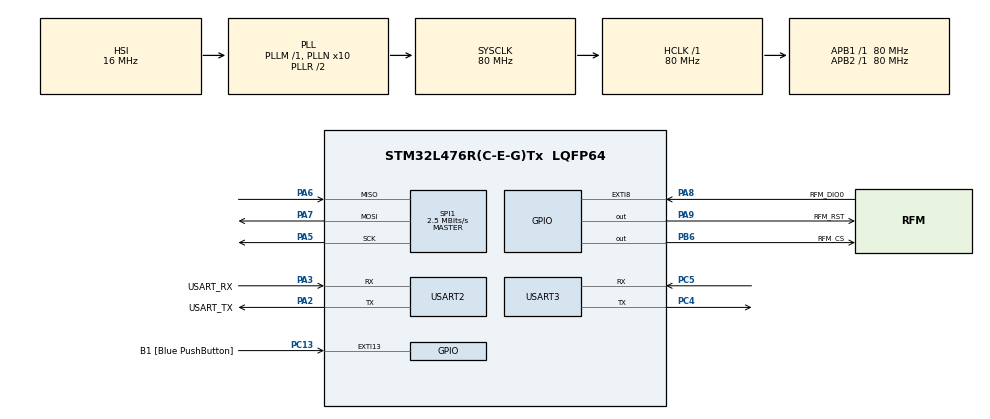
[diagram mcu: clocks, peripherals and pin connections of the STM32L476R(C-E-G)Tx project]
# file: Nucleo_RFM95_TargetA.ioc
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Dma.Request0=USART3_TX
Dma.USART3_TX.0.Direction=DMA_MEMORY_TO_PERIPH
Dma.USART3_TX.0.Instance=DMA1_Channel2
Dma.USART3_TX.0.MemDataAlignment=DMA_MDATAALIGN_BYTE
Dma.USART3_TX.0.MemInc=DMA_MINC_ENABLE
Dma.USART3_TX.0.Mode=DMA_NORMAL
Dma.USART3_TX.0.PeriphDataAlignment=DMA_PDATAALIGN_BYTE
Dma.USART3_TX.0.PeriphInc=DMA_PINC_DISABLE
Dma.USART3_TX.0.Priority=DMA_PRIORITY_LOW
Mcu.Family=STM32L4
Mcu.Name=STM32L476R(C-E-G)Tx
Mcu.Package=LQFP64
NVIC.DMA1_Channel2_IRQn=true\:0\:0\:false\:false\:true\:false\:true\:true
NVIC.EXTI9_5_IRQn=true\:0\:0\:false\:false\:true\:true\:true\:true
NVIC.PriorityGroup=NVIC_PRIORITYGROUP_4
NVIC.TIM2_IRQn=true\:0\:0\:false\:false\:true\:true\:true\:true
NVIC.USART3_IRQn=true\:0\:0\:false\:false\:true\:true\:true\:true
PA13\ (JTMS-SWDIO).GPIO_Label=TMS
PA13\ (JTMS-SWDIO).Mode=Serial_Wire
PA13\ (JTMS-SWDIO).Signal=SYS_JTMS-SWDIO
PA14\ (JTCK-SWCLK).GPIO_Label=TCK
PA14\ (JTCK-SWCLK).Mode=Serial_Wire
PA14\ (JTCK-SWCLK).Signal=SYS_JTCK-SWCLK
PA2.GPIO_Label=USART_TX
PA2.GPIO_Mode=GPIO_MODE_AF_PP
PA2.GPIO_PuPd=GPIO_NOPULL
PA2.GPIO_Speed=GPIO_SPEED_FREQ_VERY_HIGH
PA2.Mode=Asynchronous
PA2.Signal=USART2_TX
PA3.GPIO_Label=USART_RX
PA3.GPIO_Mode=GPIO_MODE_AF_PP
PA3.GPIO_PuPd=GPIO_NOPULL
PA3.GPIO_Speed=GPIO_SPEED_FREQ_VERY_HIGH
PA3.Mode=Asynchronous
PA3.Signal=USART2_RX
PA5.Mode=Full_Duplex_Master
PA5.Signal=SPI1_SCK
PA6.Mode=Full_Duplex_Master
PA6.Signal=SPI1_MISO
PA7.Mode=Full_Duplex_Master
PA7.Signal=SPI1_MOSI
PA8.GPIO_Label=RFM_DIO0
PA8.Signal=GPXTI8
PA9.GPIO_Label=RFM_RST
PA9.Signal=GPIO_Output
PB3\ (JTDO-TRACESWO).GPIO_Label=SWO
PB3\ (JTDO-TRACESWO).Signal=SYS_JTDO-SWO
PB6.GPIO_Label=RFM_CS
PB6.Signal=GPIO_Output
PC13.GPIO_Label=B1 [Blue PushButton]
PC13.GPIO_ModeDefaultEXTI=GPIO_MODE_IT_FALLING
PC13.GPIO_PuPd=GPIO_NOPULL
PC13.Signal=GPXTI13
PC14-OSC32_IN\ (PC14).Mode=LSE-External-Oscillator
PC14-OSC32_IN\ (PC14).Signal=RCC_OSC32_IN
PC15-OSC32_OUT\ (PC15).Mode=LSE-External-Oscillator
PC15-OSC32_OUT\ (PC15).Signal=RCC_OSC32_OUT
PC4.Mode=Asynchronous
PC4.Signal=USART3_TX
PC5.Mode=Asynchronous
PC5.Signal=USART3_RX
PH0-OSC_IN\ (PH0).Signal=RCC_OSC_IN
PH1-OSC_OUT\ (PH1).Signal=RCC_OSC_OUT
ProjectManager.HeapSize=0x200
ProjectManager.StackSize=0x400
ProjectManager.TargetToolchain=CMake
RCC.ADCFreq_Value=64000000
RCC.AHBFreq_Value=80000000
RCC.APB1Freq_Value=80000000
RCC.APB1TimFreq_Value=80000000
RCC.APB2Freq_Value=80000000
RCC.APB2TimFreq_Value=80000000
RCC.CortexFreq_Value=80000000
RCC.HCLKFreq_Value=80000000
RCC.HSE_VALUE=8000000
RCC.HSI_VALUE=16000000
RCC.MSI_VALUE=4000000
RCC.PLLN=10
RCC.PLLSourceVirtual=RCC_PLLSOURCE_HSI
RCC.PREFETCH_ENABLE=1
RCC.SYSCLKFreq_VALUE=80000000
RCC.SYSCLKSource=RCC_SYSCLKSOURCE_PLLCLK
RCC.USBFreq_Value=64000000
RCC.VCOOutputFreq_Value=160000000
SPI1.BaudRatePrescaler=SPI_BAUDRATEPRESCALER_32
SPI1.CalculateBaudRate=2.5 MBits/s
SPI1.DataSize=SPI_DATASIZE_8BIT
SPI1.Direction=SPI_DIRECTION_2LINES
SPI1.Mode=SPI_MODE_MASTER
SPI1.VirtualType=VM_MASTER
TIM2.Period=999
TIM2.Prescaler=79
USART2.VirtualMode-Asynchronous=VM_ASYNC
USART3.VirtualMode-Asynchronous=VM_ASYNC
VP_TIM2_VS_ClockSourceINT.Mode=Internal
board=NUCLEO-L476RG

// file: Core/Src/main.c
/* USER CODE BEGIN Header */
/**
  ******************************************************************************
  * @file           : main.c
  * @brief          : Main program body
  ******************************************************************************
  * @attention
  *
  * Copyright (c) 2026 STMicroelectronics.
  * All rights reserved.
  *
  * This software is licensed under terms that can be found in the LICENSE file
  * in the root directory of this software component.
  * If no LICENSE file comes with this software, it is provided AS-IS.
  *
  ******************************************************************************
  */
/* USER CODE END Header */
#include "main.h"

/* USER CODE BEGIN Includes */
#include "stdio.h"
#include "string.h"
#include "lh1f_defs.h"

/* USER CODE END Includes */

/* USER CODE BEGIN PD */
/* Beacon IDs, packet types, modulation kinds live in lh1f_defs.h */

#ifndef MY_BEACON_ID
#define MY_BEACON_ID       BEACON_ID_A
#endif
#ifndef ROLE_INITIATOR
#define ROLE_INITIATOR
#endif

/* --- Campaign-configurable radio parameters --------------------------------
 * Edit these two defines between campaign runs; do not change register
 * addresses or any other values in lora_init().
 *
 * LORA_SF:         Spreading factor 7-12
 * LORA_TX_PWR_DBM: TX output power in dBm (+2, +8, +14, or +20)
 * -------------------------------------------------------------------------- */
#define LORA_SF          7
#define LORA_TX_PWR_DBM  14

/* Derived register values -- do not edit below this line */
#define REG_MODEM_CONFIG2_VAL  ((LORA_SF << 4) | 0x04)
#define REG_PA_CONFIG_VAL      (0x80 | ((LORA_TX_PWR_DBM - 2) & 0x0F))

/* USER CODE END PD */

SPI_HandleTypeDef hspi1;

TIM_HandleTypeDef htim2;

UART_HandleTypeDef huart2;
UART_HandleTypeDef huart3;
DMA_HandleTypeDef hdma_usart3_tx;

/* USER CODE BEGIN PV */
volatile uint32_t ms_count = 0;
uint8_t g_lora_sf = LORA_SF;

typedef struct {
  uint8_t  raw[32];
  uint32_t rx_ts_ms;
  int8_t   rssi_dbm;
  int8_t   snr_q025;
} pkt_rx_t;

volatile pkt_rx_t rx_slot;
volatile uint8_t  rx_ready = 0;
volatile uint32_t paused_until_ms = 0;
volatile uint32_t pause_print_until_ms = 0;
/* USER CODE END PV */

void SystemClock_Config(void);
static void MX_GPIO_Init(void);
static void MX_DMA_Init(void);
static void MX_USART2_UART_Init(void);
static void MX_SPI1_Init(void);
static void MX_USART3_UART_Init(void);
static void MX_TIM2_Init(void);
/* USER CODE BEGIN PFP */
int __io_putchar(int ch);
uint32_t rfm_frf_to_hz(uint8_t msb, uint8_t mid, uint8_t lsb);
/* radio + packet helper prototypes come from lh1f_defs.h */

/* USER CODE END PFP */

int main(void)
{

  /* MCU Configuration--------------------------------------------------------*/

  /* Reset of all peripherals, Initializes the Flash interface and the Systick. */
  HAL_Init();

  /* Configure the system clock */
  SystemClock_Config();

  /* Initialize all configured peripherals */
  MX_GPIO_Init();
  MX_DMA_Init();
  MX_USART2_UART_Init();
  MX_SPI1_Init();
  MX_USART3_UART_Init();
  MX_TIM2_Init();
  /* USER CODE BEGIN 2 */
  const uint8_t *uid = (const uint8_t *)0x1FFF7590U;
  char uid_str[25];
  snprintf(uid_str, sizeof(uid_str),
           "%02X%02X%02X%02X%02X%02X%02X%02X%02X%02X%02X%02X",
           uid[0], uid[1], uid[2], uid[3],
           uid[4], uid[5], uid[6], uid[7],
           uid[8], uid[9], uid[10], uid[11]);

  const char *board_name = "Unknown";
  if (strcmp(uid_str, "500022000350453151313620") == 0) board_name = "Board 3";
  else if (strcmp(uid_str, "400052001750563042313320") == 0) board_name = "Board 2";
  else if (strcmp(uid_str, "360020000350453151313620") == 0) board_name = "Board 1";

  printf("UID: %s --> %s\r\n", uid_str, board_name);

  /* CRC-16/CCITT-FALSE self-test (LH1-F deliverable) */
  {
    const uint8_t vec[9] = {'1','2','3','4','5','6','7','8','9'};
    uint16_t got = crc16_ccitt(vec, 9);
    if (got != 0x29B1u) {
      printf("CRC16 SELFTEST FAIL: expected 0x29B1 got 0x%04X\r\n", got);
      while (1) { /* hang on failure */ }
    } else {
      printf("CRC16 SELFTEST PASS (0x29B1)\r\n");
    }
  }

  /* Reset the RFM95W */
  HAL_GPIO_WritePin(RFM_RST_GPIO_Port, RFM_RST_Pin, GPIO_PIN_RESET);
  HAL_Delay(1);
  HAL_GPIO_WritePin(RFM_RST_GPIO_Port, RFM_RST_Pin, GPIO_PIN_SET);
  HAL_Delay(10);

  uint8_t version = rfm_read_reg(0x42);
  printf("RegVersion = 0x%02X\r\n", version);

  lora_init();

  /* Start the 1 ms TIM2 tick driving ms_count */
  HAL_TIM_Base_Start_IT(&htim2);

  /* PB10 instrumentation pulse (TX-entry scope trigger) */
  __HAL_RCC_GPIOB_CLK_ENABLE();
  {
    GPIO_InitTypeDef trig = {0};
    trig.Pin   = GPIO_PIN_10;
    trig.Mode  = GPIO_MODE_OUTPUT_PP;
    trig.Pull  = GPIO_NOPULL;
    trig.Speed = GPIO_SPEED_FREQ_HIGH;
    HAL_GPIO_Init(GPIOB, &trig);
    HAL_GPIO_WritePin(GPIOB, GPIO_PIN_10, GPIO_PIN_RESET);
  }

  /* Drop into RX so the DIO0 ISR can deliver inbound packets (PAUSE/ACK) */
  rfm_set_mode_rx();

  printf("Target A initiator ready (id=0x%02X)\r\n", (unsigned)MY_BEACON_ID);

  /* USER CODE END 2 */

  /* Infinite loop */
  /* USER CODE BEGIN WHILE */
  typedef enum {
    ST_IDLE, ST_BUILD_DATA, ST_BUILD_ACK, ST_TX,
    ST_WAIT_ACK, ST_LOG, ST_FAULT
  } state_t;

  state_t  state = ST_IDLE;
  uint16_t seq = 0;
  uint16_t pending_ack_seq = 0;
  uint32_t t_tx_ms = 0;
  uint8_t  pkt[32];
  uint8_t  log_was_acked = 0;
  int16_t  log_ack_rssi = 0;
  uint32_t log_rtt_ms = 0;
  uint32_t next_tx_ms = ms_count + 1000;
  uint16_t acks_received = 0;
  uint16_t data_sent = 0;

  while (1)
  {
    /* Honor PAUSE: suppress DATA scheduling while paused, but keep RX live
     * so PAUSE refreshes (and any ACKs) can still be processed.            */
    uint8_t paused_now = (ms_count < paused_until_ms);

    /* Throttled "I'm Jammed" print: at most once per pause window */
    if (paused_now && pause_print_until_ms < paused_until_ms) {
      printf("I'm Jammed (by ID=0x%02X, until t=%lu)\r\n",
             (unsigned)BEACON_ID_THREAT,
             (unsigned long)paused_until_ms);
      pause_print_until_ms = paused_until_ms;
    }

    switch (state) {
    case ST_IDLE:
#ifdef ROLE_INITIATOR
      if (!paused_now && ms_count >= next_tx_ms) {
        state = ST_BUILD_DATA;
        break;
      }
#endif
      if (rx_ready) {
        rx_ready = 0;
        uint8_t pkt_type = rx_slot.raw[6] & 0x03;
        uint8_t sender   = rx_slot.raw[2];
#ifdef ROLE_RESPONDER
        if (pkt_type == PKT_TYPE_DATA && sender == BEACON_ID_A) {
          pending_ack_seq = (uint16_t)rx_slot.raw[3]
                          | ((uint16_t)rx_slot.raw[4] << 8);
          state = ST_BUILD_ACK;
          break;
        }
#endif
        (void)pkt_type; (void)sender;
      }
      break;

    case ST_BUILD_DATA:
      build_packet(pkt, MY_BEACON_ID, seq,
                   PKT_TYPE_DATA, MOD_KIND_LORA);
      state = ST_TX;
      break;

    case ST_BUILD_ACK:
      build_packet(pkt, MY_BEACON_ID, pending_ack_seq,
                   PKT_TYPE_ACK, MOD_KIND_LORA);
      state = ST_TX;
      break;

    case ST_TX: {
      rfm_set_mode_standby();
      rfm_write_reg(0x0D, rfm_read_reg(0x0E));
      for (int i = 0; i < 32; i++) rfm_write_reg(0x00, pkt[i]);
      rfm_write_reg(0x22, 32);
      t_tx_ms = ms_count;
      rfm_write_reg(0x12, 0xFF);

      HAL_GPIO_WritePin(GPIOB, GPIO_PIN_10, GPIO_PIN_SET);
      rfm_write_reg(0x01, 0x83);  /* TX */

      uint32_t tx_deadline = ms_count + 500;
      uint8_t ok = 0;
      while (ms_count < tx_deadline) {
        if (rfm_read_reg(0x12) & 0x08) { ok = 1; break; }
      }
      rfm_write_reg(0x12, 0xFF);
      HAL_GPIO_WritePin(GPIOB, GPIO_PIN_10, GPIO_PIN_RESET);

      if (!ok) { state = ST_FAULT; break; }

      data_sent++;
      rfm_set_mode_rx();
#ifdef ROLE_INITIATOR
      state = ST_WAIT_ACK;
#else
      state = ST_LOG;
#endif
      break;
    }

#ifdef ROLE_INITIATOR
    case ST_WAIT_ACK: {
      uint32_t deadline = ms_count + 200;
      log_was_acked = 0;
      while (ms_count < deadline) {
        if (rx_ready) {
          rx_ready = 0;
          uint8_t pkt_type = rx_slot.raw[6] & 0x03;
          uint8_t sender   = rx_slot.raw[2];
          uint16_t rs = (uint16_t)rx_slot.raw[3]
                      | ((uint16_t)rx_slot.raw[4] << 8);
          if (pkt_type == PKT_TYPE_ACK
              && sender == BEACON_ID_B
              && rs == seq) {
            log_was_acked = 1;
            log_ack_rssi  = rx_slot.rssi_dbm;
            log_rtt_ms    = ms_count - t_tx_ms;
            break;
          }
        }
      }
      if (log_was_acked) acks_received++;
      next_tx_ms = t_tx_ms + 1000;
      seq++;
      state = ST_LOG;
      break;
    }
#endif

    case ST_LOG:
#ifdef ROLE_INITIATOR
      if (log_was_acked) {
        printf("CSV,%u,%lu,%lu,%lu,%d\r\n",
               (unsigned)(seq - 1),
               (unsigned long)t_tx_ms,
               (unsigned long)(t_tx_ms + log_rtt_ms),
               (unsigned long)log_rtt_ms,
               (int)log_ack_rssi);
      } else {
        printf("CSV,%u,%lu,0,0,0  (no ACK)\r\n",
               (unsigned)(seq - 1),
               (unsigned long)t_tx_ms);
      }
      if ((data_sent % 10) == 0 && data_sent > 0) {
        uint32_t ack_x10 = (1000UL * acks_received) / data_sent;
        printf("# stats: sent=%u acked=%u (%lu.%lu%%)\r\n",
               (unsigned)data_sent,
               (unsigned)acks_received,
               (unsigned long)(ack_x10 / 10UL),
               (unsigned long)(ack_x10 % 10UL));
      }
#else
      printf("ACK seq=%u rssi=%d\r\n",
             (unsigned)pending_ack_seq, (int)rx_slot.rssi_dbm);
#endif
      state = ST_IDLE;
      break;

    case ST_FAULT:
      printf("FAULT --- TX timeout, reconfiguring radio\r\n");
      rfm_write_reg(0x12, 0xFF);
      lora_init();
      rfm_set_mode_rx();
      state = ST_IDLE;
      break;
    }
    /* USER CODE END WHILE */

  }
}

void SystemClock_Config(void)
{
  RCC_OscInitTypeDef RCC_OscInitStruct = {0};
  RCC_ClkInitTypeDef RCC_ClkInitStruct = {0};

  /** Configure the main internal regulator output voltage
  */
  if (HAL_PWREx_ControlVoltageScaling(PWR_REGULATOR_VOLTAGE_SCALE1) != HAL_OK)
  {
    Error_Handler();
  }

  /** Initializes the RCC Oscillators according to the specified parameters
  * in the RCC_OscInitTypeDef structure.
  */
  RCC_OscInitStruct.OscillatorType = RCC_OSCILLATORTYPE_HSI;
  RCC_OscInitStruct.HSIState = RCC_HSI_ON;
  RCC_OscInitStruct.HSICalibrationValue = RCC_HSICALIBRATION_DEFAULT;
  RCC_OscInitStruct.PLL.PLLState = RCC_PLL_ON;
  RCC_OscInitStruct.PLL.PLLSource = RCC_PLLSOURCE_HSI;
  RCC_OscInitStruct.PLL.PLLM = 1;
  RCC_OscInitStruct.PLL.PLLN = 10;
  RCC_OscInitStruct.PLL.PLLP = RCC_PLLP_DIV7;
  RCC_OscInitStruct.PLL.PLLQ = RCC_PLLQ_DIV2;
  RCC_OscInitStruct.PLL.PLLR = RCC_PLLR_DIV2;
  if (HAL_RCC_OscConfig(&RCC_OscInitStruct) != HAL_OK)
  {
    Error_Handler();
  }

  /** Initializes the CPU, AHB and APB buses clocks
  */
  RCC_ClkInitStruct.ClockType = RCC_CLOCKTYPE_HCLK|RCC_CLOCKTYPE_SYSCLK
                              |RCC_CLOCKTYPE_PCLK1|RCC_CLOCKTYPE_PCLK2;
  RCC_ClkInitStruct.SYSCLKSource = RCC_SYSCLKSOURCE_PLLCLK;
  RCC_ClkInitStruct.AHBCLKDivider = RCC_SYSCLK_DIV1;
  RCC_ClkInitStruct.APB1CLKDivider = RCC_HCLK_DIV1;
  RCC_ClkInitStruct.APB2CLKDivider = RCC_HCLK_DIV1;

  if (HAL_RCC_ClockConfig(&RCC_ClkInitStruct, FLASH_LATENCY_4) != HAL_OK)
  {
    Error_Handler();
  }
}

static void MX_SPI1_Init(void)
{

  /* SPI1 parameter configuration*/
  hspi1.Instance = SPI1;
  hspi1.Init.Mode = SPI_MODE_MASTER;
  hspi1.Init.Direction = SPI_DIRECTION_2LINES;
  hspi1.Init.DataSize = SPI_DATASIZE_8BIT;
  hspi1.Init.CLKPolarity = SPI_POLARITY_LOW;
  hspi1.Init.CLKPhase = SPI_PHASE_1EDGE;
  hspi1.Init.NSS = SPI_NSS_SOFT;
  hspi1.Init.BaudRatePrescaler = SPI_BAUDRATEPRESCALER_32;
  hspi1.Init.FirstBit = SPI_FIRSTBIT_MSB;
  hspi1.Init.TIMode = SPI_TIMODE_DISABLE;
  hspi1.Init.CRCCalculation = SPI_CRCCALCULATION_DISABLE;
  hspi1.Init.CRCPolynomial = 7;
  hspi1.Init.CRCLength = SPI_CRC_LENGTH_DATASIZE;
  hspi1.Init.NSSPMode = SPI_NSS_PULSE_ENABLE;
  if (HAL_SPI_Init(&hspi1) != HAL_OK)
  {
    Error_Handler();
  }

}

static void MX_TIM2_Init(void)
{

  TIM_ClockConfigTypeDef sClockSourceConfig = {0};
  TIM_MasterConfigTypeDef sMasterConfig = {0};

  htim2.Instance = TIM2;
  htim2.Init.Prescaler = 79;
  htim2.Init.CounterMode = TIM_COUNTERMODE_UP;
  htim2.Init.Period = 999;
  htim2.Init.ClockDivision = TIM_CLOCKDIVISION_DIV1;
  htim2.Init.AutoReloadPreload = TIM_AUTORELOAD_PRELOAD_DISABLE;
  if (HAL_TIM_Base_Init(&htim2) != HAL_OK)
  {
    Error_Handler();
  }
  sClockSourceConfig.ClockSource = TIM_CLOCKSOURCE_INTERNAL;
  if (HAL_TIM_ConfigClockSource(&htim2, &sClockSourceConfig) != HAL_OK)
  {
    Error_Handler();
  }
  sMasterConfig.MasterOutputTrigger = TIM_TRGO_RESET;
  sMasterConfig.MasterSlaveMode = TIM_MASTERSLAVEMODE_DISABLE;
  if (HAL_TIMEx_MasterConfigSynchronization(&htim2, &sMasterConfig) != HAL_OK)
  {
    Error_Handler();
  }

}

static void MX_USART2_UART_Init(void)
{

  huart2.Instance = USART2;
  huart2.Init.BaudRate = 115200;
  huart2.Init.WordLength = UART_WORDLENGTH_8B;
  huart2.Init.StopBits = UART_STOPBITS_1;
  huart2.Init.Parity = UART_PARITY_NONE;
  huart2.Init.Mode = UART_MODE_TX_RX;
  huart2.Init.HwFlowCtl = UART_HWCONTROL_NONE;
  huart2.Init.OverSampling = UART_OVERSAMPLING_16;
  huart2.Init.OneBitSampling = UART_ONE_BIT_SAMPLE_DISABLE;
  huart2.AdvancedInit.AdvFeatureInit = UART_ADVFEATURE_NO_INIT;
  if (HAL_UART_Init(&huart2) != HAL_OK)
  {
    Error_Handler();
  }

}

static void MX_USART3_UART_Init(void)
{

  huart3.Instance = USART3;
  huart3.Init.BaudRate = 115200;
  huart3.Init.WordLength = UART_WORDLENGTH_8B;
  huart3.Init.StopBits = UART_STOPBITS_1;
  huart3.Init.Parity = UART_PARITY_NONE;
  huart3.Init.Mode = UART_MODE_TX_RX;
  huart3.Init.HwFlowCtl = UART_HWCONTROL_NONE;
  huart3.Init.OverSampling = UART_OVERSAMPLING_16;
  huart3.Init.OneBitSampling = UART_ONE_BIT_SAMPLE_DISABLE;
  huart3.AdvancedInit.AdvFeatureInit = UART_ADVFEATURE_NO_INIT;
  if (HAL_UART_Init(&huart3) != HAL_OK)
  {
    Error_Handler();
  }

}

static void MX_DMA_Init(void)
{

  /* DMA controller clock enable */
  __HAL_RCC_DMA1_CLK_ENABLE();

  /* DMA interrupt init */
  /* DMA1_Channel2_IRQn interrupt configuration */
  HAL_NVIC_SetPriority(DMA1_Channel2_IRQn, 0, 0);
  HAL_NVIC_EnableIRQ(DMA1_Channel2_IRQn);

}

static void MX_GPIO_Init(void)
{
  GPIO_InitTypeDef GPIO_InitStruct = {0};

  /* GPIO Ports Clock Enable */
  __HAL_RCC_GPIOC_CLK_ENABLE();
  __HAL_RCC_GPIOH_CLK_ENABLE();
  __HAL_RCC_GPIOA_CLK_ENABLE();
  __HAL_RCC_GPIOB_CLK_ENABLE();

  /*Configure GPIO pin Output Level */
  HAL_GPIO_WritePin(RFM_RST_GPIO_Port, RFM_RST_Pin, GPIO_PIN_RESET);

  /*Configure GPIO pin Output Level */
  HAL_GPIO_WritePin(RFM_CS_GPIO_Port, RFM_CS_Pin, GPIO_PIN_RESET);

  /*Configure GPIO pin : B1_Pin */
  GPIO_InitStruct.Pin = B1_Pin;
  GPIO_InitStruct.Mode = GPIO_MODE_IT_FALLING;
  GPIO_InitStruct.Pull = GPIO_NOPULL;
  HAL_GPIO_Init(B1_GPIO_Port, &GPIO_InitStruct);

  /*Configure GPIO pin : RFM_DIO0_Pin */
  GPIO_InitStruct.Pin = RFM_DIO0_Pin;
  GPIO_InitStruct.Mode = GPIO_MODE_IT_RISING;
  GPIO_InitStruct.Pull = GPIO_NOPULL;
  HAL_GPIO_Init(RFM_DIO0_GPIO_Port, &GPIO_InitStruct);

  /*Configure GPIO pin : RFM_RST_Pin */
  GPIO_InitStruct.Pin = RFM_RST_Pin;
  GPIO_InitStruct.Mode = GPIO_MODE_OUTPUT_PP;
  GPIO_InitStruct.Pull = GPIO_NOPULL;
  GPIO_InitStruct.Speed = GPIO_SPEED_FREQ_LOW;
  HAL_GPIO_Init(RFM_RST_GPIO_Port, &GPIO_InitStruct);

  /*Configure GPIO pin : RFM_CS_Pin */
  GPIO_InitStruct.Pin = RFM_CS_Pin;
  GPIO_InitStruct.Mode = GPIO_MODE_OUTPUT_PP;
  GPIO_InitStruct.Pull = GPIO_NOPULL;
  GPIO_InitStruct.Speed = GPIO_SPEED_FREQ_LOW;
  HAL_GPIO_Init(RFM_CS_GPIO_Port, &GPIO_InitStruct);

  /* EXTI interrupt init*/
  HAL_NVIC_SetPriority(EXTI9_5_IRQn, 0, 0);
  HAL_NVIC_EnableIRQ(EXTI9_5_IRQn);

}

/* USER CODE BEGIN 4 */
int __io_putchar(int ch)
{
  HAL_UART_Transmit(&huart2, (uint8_t *)&ch, 1, HAL_MAX_DELAY);
  return ch;
}

int _write(int file, char *ptr, int len)
{
  (void)file;
  HAL_UART_Transmit(&huart2, (uint8_t *)ptr, len, HAL_MAX_DELAY);
  return len;
}

void HAL_TIM_PeriodElapsedCallback(TIM_HandleTypeDef *htim)
{
  if (htim->Instance == TIM2) ms_count++;
}

void HAL_GPIO_EXTI_Callback(uint16_t GPIO_Pin)
{
  if (GPIO_Pin != RFM_DIO0_Pin) return;

  uint8_t irq = rfm_read_reg(0x12);
  if ((irq & 0x40) == 0) {
    rfm_write_reg(0x12, 0xFF);
    return;
  }
  if (irq & 0x20) {  /* CRC error */
    rfm_write_reg(0x12, 0xFF);
    return;
  }

  uint8_t rx_addr = rfm_read_reg(0x10);
  rfm_write_reg(0x0D, rx_addr);
  for (int i = 0; i < 32; i++) {
    ((uint8_t *)rx_slot.raw)[i] = rfm_read_reg(0x00);
  }
  rx_slot.rx_ts_ms = ms_count;
  rx_slot.rssi_dbm = (int8_t)((int16_t)rfm_read_reg(0x1A) - 157);
  rx_slot.snr_q025 = (int8_t)rfm_read_reg(0x19);
  rfm_write_reg(0x12, 0xFF);

  /* Latch PAUSE addressed to us in the ISR for low latency.
   * The "I'm Jammed" print is deferred to the main loop.       */
  uint8_t sender   = rx_slot.raw[2];
  uint8_t pkt_type = rx_slot.raw[6] & 0x03;
  if (pkt_type == PKT_TYPE_PAUSE
      && sender == BEACON_ID_THREAT
      && rx_slot.raw[13] == MY_BEACON_ID) {
    uint8_t units = rx_slot.raw[14];
    paused_until_ms = ms_count + ((uint32_t)units * 100u);
  }

  rx_ready = 1;
}

uint8_t rfm_read_reg(uint8_t addr)
{
  uint8_t tx[2] = {addr & 0x7F, 0x00};
  uint8_t rx[2] = {0, 0};

  HAL_GPIO_WritePin(RFM_CS_GPIO_Port, RFM_CS_Pin, GPIO_PIN_RESET);
  HAL_SPI_TransmitReceive(&hspi1, tx, rx, 2, HAL_MAX_DELAY);
  HAL_GPIO_WritePin(RFM_CS_GPIO_Port, RFM_CS_Pin, GPIO_PIN_SET);

  return rx[1];
}

void rfm_write_reg(uint8_t addr, uint8_t val)
{
  uint8_t tx[2] = {addr | 0x80, val};

  HAL_GPIO_WritePin(RFM_CS_GPIO_Port, RFM_CS_Pin, GPIO_PIN_RESET);
  HAL_SPI_Transmit(&hspi1, tx, 2, HAL_MAX_DELAY);
  HAL_GPIO_WritePin(RFM_CS_GPIO_Port, RFM_CS_Pin, GPIO_PIN_SET);
}

uint32_t rfm_frf_to_hz(uint8_t msb, uint8_t mid, uint8_t lsb)
{
  uint32_t frf = ((uint32_t)msb << 16) | ((uint32_t)mid << 8) | lsb;
  return (uint32_t)(((uint64_t)frf * 32000000ULL) / 524288ULL);
}

void lora_init(void)
{
  rfm_write_reg(0x01, 0x80);
  HAL_Delay(10);

  rfm_write_reg(0x06, 0xE2);
  rfm_write_reg(0x07, 0xA0);
  rfm_write_reg(0x08, 0x00);

  rfm_write_reg(0x1D, 0x72);
  rfm_write_reg(0x1E, REG_MODEM_CONFIG2_VAL);

  rfm_write_reg(0x20, 0x00);
  rfm_write_reg(0x21, 0x08);

  rfm_write_reg(0x39, 0x34);

  rfm_write_reg(0x09, REG_PA_CONFIG_VAL);

  rfm_write_reg(0x0E, 0x80);
  rfm_write_reg(0x0F, 0x00);

  rfm_write_reg(0x01, 0x81);
  HAL_Delay(10);

  printf("lora_init done: SF=%d TxPwr=%d dBm\r\n", LORA_SF, LORA_TX_PWR_DBM);
}

void rfm_set_mode_standby(void)
{
  rfm_write_reg(0x01, 0x81);
}

void rfm_set_mode_rx(void)
{
  rfm_write_reg(0x0D, rfm_read_reg(0x0F));
  rfm_write_reg(0x12, 0xFF);
  rfm_write_reg(0x01, 0x85);
}

/* crc16_ccitt and build_packet now live in lh1f_packet.c */

/* USER CODE END 4 */

void Error_Handler(void)
{
  __disable_irq();
  while (1)
  {
  }
}
